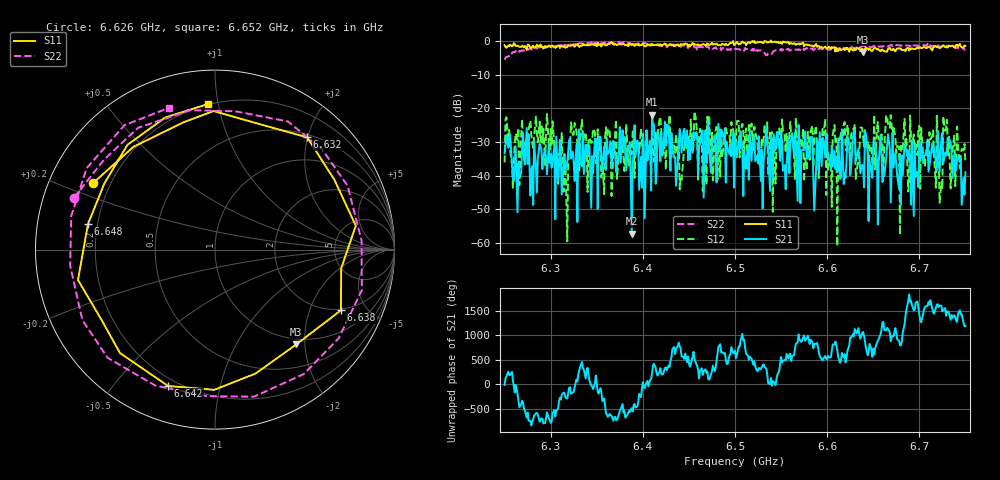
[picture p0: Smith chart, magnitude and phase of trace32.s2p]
# Hz S RI R 50
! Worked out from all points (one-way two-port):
!   401 points, 6.25 GHz to 6.75 GHz, reference 50 ohm
!   highest |S21| = -21.82 dB at 6.41 GHz (marker M1); lowest = -57.3 dB at 6.388 GHz (marker M2)
!   lowest |S11| = -3.2 dB at 6.639 GHz (marker M3), VSWR 5.57, Z = 44.6 - j91.3 ohm
!   |S11| at or under -10 dB: nowhere
!   |S22| runs from -5.5 to 0.1 dB; largest |S21 - S12| = 0.11
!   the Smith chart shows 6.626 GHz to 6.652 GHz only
!   S11 on the Smith chart (normalised r, x): 6.626 GHz: 0.14, +0.25; 6.632 GHz: 0.55, +1.99; 6.638 GHz: 1.93, -3.33; 6.642 GHz: 0.16, -0.70; 6.648 GHz: 0.16, +0.10; 6.652 GHz: 0.20, +0.94
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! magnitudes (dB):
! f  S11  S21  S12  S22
! 6.25 GHz  -1.2  -33.3  -36.1  -5.5
! 6.298 GHz  -1.2  -30.5  -30.9  -1.6
! 6.316 GHz  -1.9  -38.5  -35.7  -1.2
! 6.322 GHz  -1.4  -34.9  -24.2  -1.0
! 6.334 GHz  -1.3  -37.2  -23.4  -0.7
! 6.388 GHz  -0.9  -57.3  -33.6  -1.1
! 6.41 GHz  -1.0  -21.8  -26.7  -0.7
! 6.418 GHz  -1.3  -29.4  -23.4  -0.9
! 6.442 GHz  -0.9  -33.2  -41.3  -1.4
! 6.5 GHz  -1.0  -27.9  -28.1  -2.3
! 6.584 GHz  -1.3  -28.6  -25.0  -2.2
! 6.626 GHz  -2.2  -37.6  -27.8  -1.5
! 6.632 GHz  -1.8  -34.3  -38.6  -1.7
! 6.638 GHz  -2.2  -36.8  -25.7  -1.4
! 6.639 GHz  -3.2  -37.1  -28.4  -1.4
! 6.642 GHz  -1.9  -27.6  -31.6  -1.7
! 6.648 GHz  -2.8  -38.4  -32.1  -1.8
! 6.652 GHz  -1.8  -30.7  -38.1  -1.6
! 6.668 GHz  -2.0  -31.8  -25.8  -1.2
! 6.678 GHz  -2.1  -43.8  -31.4  -1.2
! 6.732 GHz  -1.3  -28.6  -28.4  -1.4
! 6.75 GHz  -1.3  -39.0  -36.1  -2.4
